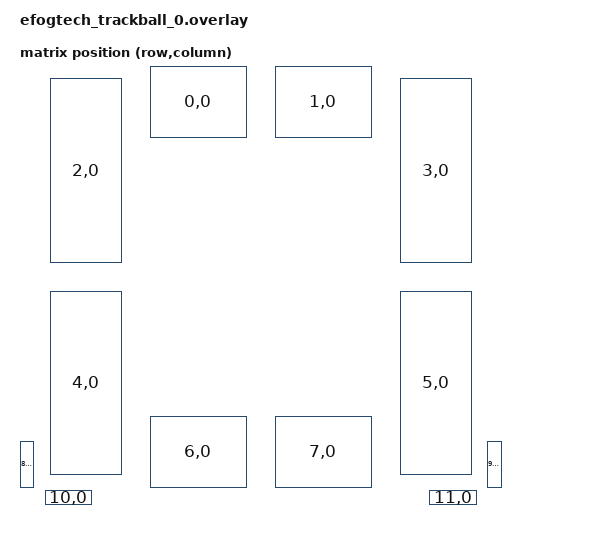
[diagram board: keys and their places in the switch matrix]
#include <dt-bindings/zmk/matrix_transform.h>

/ {
    chosen {
        zmk,kscan = &mock_kscan;
        zmk,physical-layout = &physical_layout0;  // New item added
    };

    mock_kscan: mock_kscan_0 {
        compatible = "zmk,kscan-mock";
        columns = <0>;
        rows = <0>;
        events = <0>;
    };

        default_transform: keymap_transform_0 {
        compatible = "zmk,matrix-transform";
        rows = <12>;
        columns = <1>;
        map =
            <
                RC(0, 0)  RC(1, 0)
                RC(2, 0)  RC(3, 0)
                RC(4, 0)  RC(5, 0)
                RC(6, 0)  RC(7, 0)
                RC(8, 0)  RC(9, 0)
                RC(10, 0) RC(11, 0)
            >;
    };

    physical_layout0: physical_layout_0 {
        compatible = "zmk,physical-layout";
        display-name = "Default Layout";

        transform = <&default_transform>;
        kscan = <&kscan0>;

        keys  //               w     h     x     y     rot  rx   ry
        = <&key_physical_attrs 200   150   275   0     0    8    8  >
        , <&key_physical_attrs 200   150   525   0     0    8    8  >
        , <&key_physical_attrs 150   375   75    25    0    8    8  >
        , <&key_physical_attrs 150   375   775   25    0    8    8  >
        , <&key_physical_attrs 150   375   75    450   0    8    8  >
        , <&key_physical_attrs 150   375   775   450   0    8    8  >
        , <&key_physical_attrs 200   150   275   700   0    8    8  >
        , <&key_physical_attrs 200   150   525   700   0    8    8  >

        , <&key_physical_attrs 35    100   15    750   0    8    8  >
        , <&key_physical_attrs 35    100   950   750   0    8    8  >

        , <&key_physical_attrs 100   35    65    850   0    8    8  >
        , <&key_physical_attrs 100   35    835   850   0    8    8  >
        ;
    };

};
